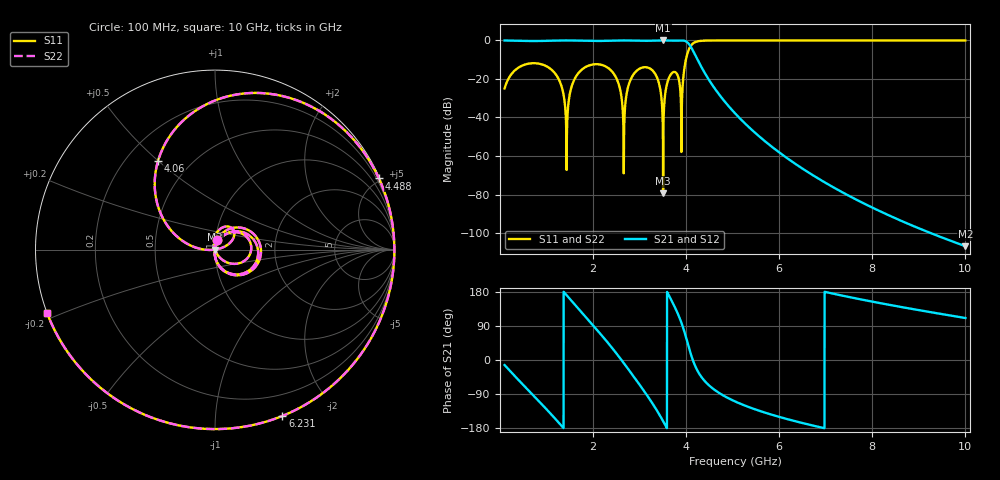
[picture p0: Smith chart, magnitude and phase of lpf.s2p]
! Simulation of a Chebyshev LPF, 4 GHz
# hz S ma R 50
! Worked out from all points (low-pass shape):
!   4301 points, 100 MHz to 10 GHz, reference 50 ohm
!   highest |S21| = 0.00 dB at 3.505 GHz (marker M1); lowest = -106.8 dB at 10 GHz (marker M2)
!   |S21| within 3 dB of the highest: start of sweep to 4.094 GHz
!   lowest |S11| = -79.4 dB at 3.505 GHz (marker M3), VSWR 1.00, Z = 50 - j0.0101 ohm
!   |S11| at or under -10 dB: start of sweep to 3.995 GHz
!   |S22| runs from -79.4 to 0.0 dB; largest |S21 - S12| = 0
!   S11 on the Smith chart (normalised r, x): 100 MHz: 1.02, +0.11; 4.06 GHz: 0.33, +0.50; 4.488 GHz: 0.06, +4.81; 6.231 GHz: 0.00, -1.48; 10 GHz: -0.00, -0.18
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1e8  0.05673 76.6  0.9984 -13.4  0.9984 -13.4  0.05673 76.6
8.298372e8  0.2505 -17.9  0.9681 -107.9  0.9681 -107.9  0.2505 -17.9
1.24886e9  0.1059 -73.4  0.9944 -163.4  0.9944 -163.4  0.1059 -73.4
1.430744e9  0.0009442 -98.8  1 171.2  1 171.2  0.0009442 -98.8
1.552767e9  0.07116 64.0  0.9975 154.0  0.9975 154.0  0.07116 64.0
1.750767e9  0.1714 36.1  0.9852 126.1  0.9852 126.1  0.1714 36.1
2.374698e9  0.1721 -52.9  0.9851 37.1  0.9851 37.1  0.1721 -52.9
2.549674e9  0.07441 -80.2  0.9972 9.8  0.9972 9.8  0.07441 -80.2
2.625651e9  0.02392 -92.5  0.9997 -2.5  0.9997 -2.5  0.02392 -92.5
2.961791e9  0.1731 31.3  0.9849 -58.7  0.9849 -58.7  0.1731 31.3
3.401535e9  0.08916 -49.3  0.996 -139.3  0.996 -139.3  0.08916 -49.3
3.50514e9  0.000107 -71.3  1 -161.3  1 -161.3  0.000107 -71.3
3.698535e9  0.1436 64.1  0.9896 154.1  0.9896 154.1  0.1436 64.1
3.878116e9  0.04439 15.1  0.999 105.1  0.999 105.1  0.04439 15.1
4.06e9  0.5882 122.6  0.8087 32.6  0.8087 32.6  0.5882 122.6
4.200442e9  0.9134 72.5  0.4072 -17.5  0.4072 -17.5  0.9134 72.5
4.488233e9  0.9954 23.5  0.09566 -66.5  0.09566 -66.5  0.9954 23.5
5.05e9  0.9999 -19.3  0.01286 -109.3  0.01286 -109.3  0.9999 -19.3
6.231093e9  1 -67.9  0.0007792 -157.9  0.0007792 -157.9  1 -67.9
6.700767e9  1 -82.3  0.0003292 -172.3  0.0003292 -172.3  1 -82.3
8.351535e9  1 -124.1  2.893e-05 145.9  2.893e-05 145.9  1 -124.1
1e10  1 -159.2  4.554e-06 110.8  4.554e-06 110.8  1 -159.2
